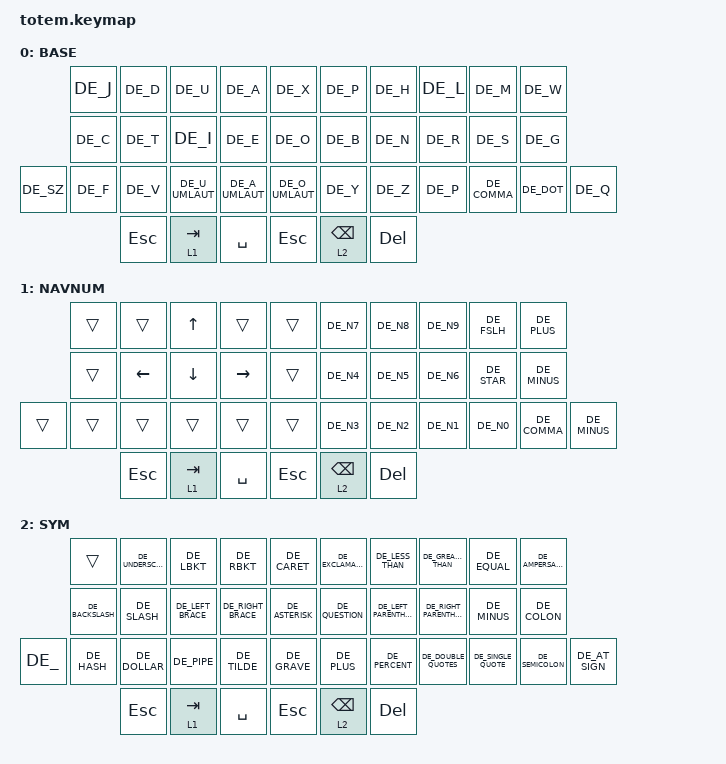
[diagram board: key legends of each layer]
#include <behaviors.dtsi>
#include <dt-bindings/zmk/keys.h>
#include <locale/keys_de.h>


&mt {
  quick-tap-ms = <100>;
  global-quick-tap;
  flavor = "tap-preferred";
  tapping-term-ms = <170>;
};



/ {
    combos {
        compatible = "zmk,combos";

        space {
            bindings = <&kp SPACE>;
            key-positions = <11 12 13>;
            layers = <0 2 1>;
        };

        return {
            bindings = <&kp ENTER>;
            key-positions = <16 17 18>;
        };
    };

    keymap {
        compatible = "zmk,keymap";

        BASE {
            bindings = <
           &kp DE_J  &kp DE_D  &kp DE_U      &kp DE_A           &kp DE_X       &kp DE_P       &kp DE_H      &kp DE_L     &kp DE_M      &kp DE_W
           &kp DE_C  &kp DE_T  &kp DE_I      &kp DE_E           &kp DE_O       &kp DE_B       &kp DE_N      &kp DE_R     &kp DE_S      &kp DE_G
&kp DE_SZ  &kp DE_F  &kp DE_V &kp DE_U_UMLAUT &kp DE_A_UMLAUT   &kp DE_O_UMLAUT  &kp DE_Y     &kp DE_Z      &kp DE_P     &kp DE_COMMA  &kp DE_DOT  &kp DE_Q
                         &kp ESCAPE  &lt 1 TAB  &kp SPACE    &kp ESCAPE  &lt 2 BSPC  &kp DEL
            >;
        };

        NAVNUM {
            bindings = <
        &trans  &trans    &kp UP    &trans     &trans    &kp DE_N7  &kp DE_N8  &kp DE_N9  &kp DE_FSLH  &kp DE_PLUS
        &trans  &kp LEFT  &kp DOWN  &kp RIGHT  &trans    &kp DE_N4  &kp DE_N5  &kp DE_N6  &kp DE_STAR  &kp DE_MINUS
&trans  &trans  &trans    &trans    &trans     &trans    &kp DE_N3  &kp DE_N2  &kp DE_N1  &kp DE_N0    &kp DE_COMMA  &kp DE_MINUS
                         &kp ESCAPE  &lt 1 TAB  &kp SPACE    &kp ESCAPE  &lt 2 BSPC  &kp DEL
            >;
        };

        SYM {
            bindings = <
     &trans         &kp DE_UNDERSCORE  &kp DE_LBKT        &kp DE_RBKT         &kp DE_CARET       &kp DE_EXCLAMATION  &kp DE_LESS_THAN         &kp DE_GREATER_THAN       &kp DE_EQUAL         &kp DE_AMPERSAND
     &kp DE_BACKSLASH  &kp DE_SLASH       &kp DE_LEFT_BRACE  &kp DE_RIGHT_BRACE  &kp DE_ASTERISK    &kp DE_QUESTION     &kp DE_LEFT_PARENTHESIS  &kp DE_RIGHT_PARENTHESIS  &kp DE_MINUS         &kp DE_COLON
&kp DE_ &kp DE_HASH       &kp DE_DOLLAR      &kp DE_PIPE        &kp DE_TILDE        &kp DE_GRAVE       &kp DE_PLUS         &kp DE_PERCENT           &kp DE_DOUBLE_QUOTES      &kp DE_SINGLE_QUOTE  &kp DE_SEMICOLON  &kp DE_AT_SIGN
                         &kp ESCAPE  &lt 1 TAB  &kp SPACE    &kp ESCAPE  &lt 2 BSPC  &kp DEL
            >;
        };
    };
};
